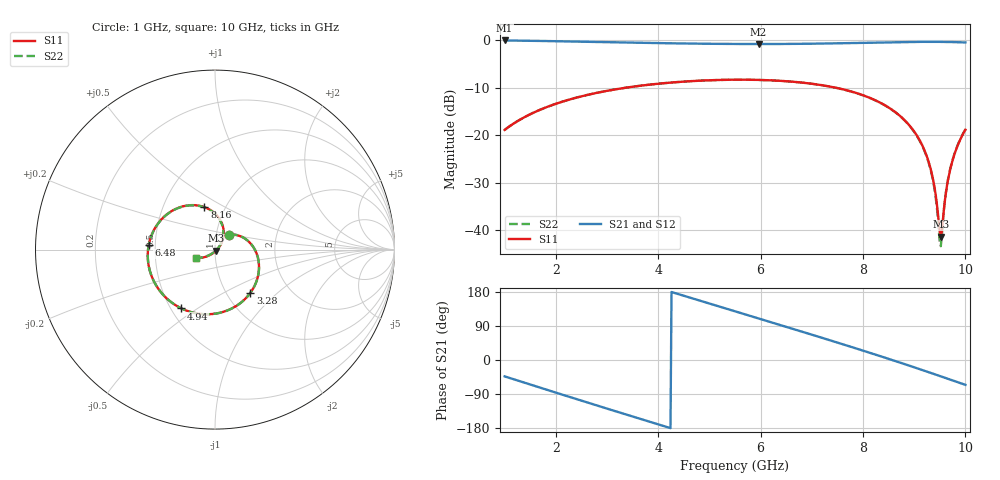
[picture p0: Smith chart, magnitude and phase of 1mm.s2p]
! Touchstone file exported from HFSS 2018.2.0
!  File:  C:/Users/10024/OneDrive - The University of Nottingham Ningbo China/Year 4/Final Year Project/HFSS project/Passive_Resonator_Antenna.aedt
!  Generated:  12:14:34 下午  3月 12, 2022
!  Design:  SMA_Thru
!  Project:  Passive_Resonator_Antenna
!  Setup:  Setup1
!  Solution:  Sweep
! Variables:
!  MW = 1mm
!  ThruL = 1mm
!  g = 0.2mm
!  subH = 0.8mm
!  subX = 20mm
!  subY = 11mm
!  tapW = 1mm
# GHZ S MA R 50.000000
! Modal data exported
! Port[1] = SMA_CONNECTOR1_1:1
! Port[2] = SMA_CONNECTOR2_1:1
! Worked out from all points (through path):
!   451 points, 1 GHz to 10 GHz, reference 50 ohm
!   highest |S21| = -0.06 dB at 1 GHz (marker M1); lowest = -0.8 dB at 5.96 GHz (marker M2)
!   group delay of S21, straight-line fit = 116 ps
!   lowest |S11| = -41.4 dB at 9.52 GHz (marker M3), VSWR 1.02, Z = 50.6 - j0.657 ohm
!   |S11| at or under -10 dB: start of sweep to 3.37 GHz; 7.465 GHz to end of sweep
!   |S22| runs from -43.4 to -8.3 dB; largest |S21 - S12| = 3.4e-14
!   S11 on the Smith chart (normalised r, x): 1 GHz: 1.15, +0.19; 3.28 GHz: 1.29, -0.68; 4.94 GHz: 0.57, -0.43; 6.48 GHz: 0.46, +0.03; 8.16 GHz: 0.80, +0.40; 10 GHz: 0.81, -0.08
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1  0.1137 46.6  0.9929 -43.2  0.9929 -43.2  0.1137 47.0
! Gamma ! 0.0151858380091412 30.3716836112434 0.0151858380091673 30.3716836111845
! Port Impedance50 0 50 0
1.76  0.1917 13.9  0.98 -75.8  0.98 -75.8  0.1917 14.2
2.5  0.2564 -17.6  0.9639 -107.2  0.9639 -107.2  0.2564 -17.4
3.28  0.3109 -50.6  0.9461 -140.0  0.9461 -140.0  0.3109 -50.3
4  0.3481 -80.7  0.9312 -169.9  0.9312 -169.9  0.3481 -80.5
4.94  0.3774 -119.7  0.9167 151.4  0.9167 151.4  0.3774 -119.5
5.5  0.3837 -142.9  0.9118 128.5  0.9118 128.5  0.3836 -142.7
5.96  0.3818 -162.0  0.9105 109.7  0.9105 109.7  0.3817 -161.7
6.48  0.3706 176.3  0.9122 88.3  0.9122 88.3  0.3704 176.6
7  0.348 154.4  0.9178 66.9  0.9178 66.9  0.3478 154.8
7.56  0.3082 130.5  0.9278 43.5  0.9278 43.5  0.3079 130.8
8.16  0.2437 104.0  0.9418 17.9  0.9418 17.9  0.2433 104.5
8.5  0.1958 88.4  0.9498 3.1  0.9498 3.1  0.1952 88.9
8.92  0.1244 67.8  0.9578 -15.7  0.9578 -15.7  0.1237 68.7
9.2  0.06954 51.7  0.9604 -28.4  0.9604 -28.4  0.06863 53.2
9.36  0.0361 37.5  0.9604 -35.7  0.9604 -35.7  0.03496 40.2
9.48  0.01209 0.6  0.9596 -41.3  0.9596 -41.3  0.01024 4.8
9.52  0.008546 -49.5  0.9592 -43.1  0.9592 -43.1  0.0068 -57.2
9.62  0.02487 -121.2  0.9577 -47.8  0.9577 -47.8  0.02512 -125.8
9.7  0.04288 -133.6  0.956 -51.5  0.956 -51.5  0.04342 -136.2
9.84  0.07575 -145.5  0.952 -58.0  0.952 -58.0  0.07648 -146.9
10  0.1142 -155.5  0.9458 -65.5  0.9458 -65.5  0.115 -156.4
